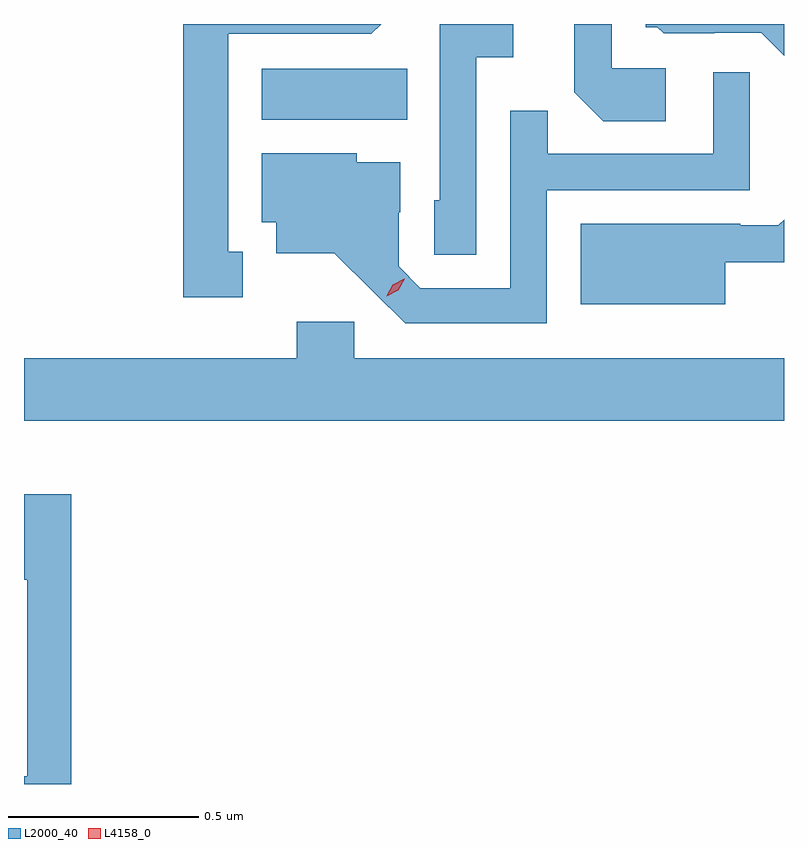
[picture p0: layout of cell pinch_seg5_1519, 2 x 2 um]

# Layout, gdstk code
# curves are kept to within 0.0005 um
import gdstk
lib = gdstk.Library(unit=1e-6, precision=1e-09)
def R(c, l, rs):  # rectangles x0, y0, x1, y1
    for r in rs: c.add(gdstk.rectangle(r[:2], r[2:], *l))
def P(c, l, *ps):  # polygons
    for p in ps: c.add(gdstk.Polygon(p, *l))
L2000_40 = (2000, 40)
L4158_0 = (4158, 0)

pinch_seg5_1519 = lib.new_cell('pinch_seg5_1519')
R(pinch_seg5_1519, L2000_40, [(161.792,893.516,162.176,893.65)])
P(pinch_seg5_1519, L2000_40, [(162.357,893.681),(162.454,893.681),(162.454,893.768),(162.261,893.768),(162.261,893.304),(162.246,893.304),(162.246,893.161),(162.357,893.161)],
  [(163.167,893.768),(162.803,893.768),(162.803,893.76),(162.834,893.76),(162.85,893.744),(162.984,893.744),(162.984,893.745),(163.107,893.745),(163.167,893.685)],
  [(161.743,893.169),(161.704,893.169),(161.704,893.742),(162.081,893.742),(162.107,893.768),(161.586,893.768),(161.586,893.049),(161.743,893.049)],
  [(162.856,893.652),(162.714,893.652),(162.714,893.768),(162.615,893.768),(162.615,893.588),(162.691,893.512),(162.856,893.512)],
  [(162.543,893.331),(163.077,893.331),(163.077,893.641),(162.981,893.641),(162.981,893.427),(162.545,893.427),(162.545,893.54),(162.447,893.54),(162.447,893.073),(162.21,893.073),(162.153,893.13),(162.153,893.272),(162.157,893.272),(162.157,893.404),(162.042,893.404),(162.042,893.428),(161.792,893.428),(161.792,893.246),(161.831,893.246),(161.831,893.165),(161.983,893.165),(162.17,892.98),(162.543,892.98)],
  [(163.012,893.141),(163.167,893.141),(163.167,893.253),(163.152,893.238),(163.052,893.238),(163.052,893.242),(162.632,893.242),(162.632,893.03),(163.012,893.03)],
  [(163.167,892.888),(162.036,892.888),(162.036,892.984),(161.885,892.984),(161.885,892.888),(161.167,892.888),(161.167,892.724),(163.167,892.724)],
  [(161.291,892.531),(161.167,892.531),(161.167,892.305),(161.175,892.305),(161.175,891.789),(161.167,891.789),(161.167,891.768),(161.291,891.768)])
P(pinch_seg5_1519, L4158_0, [(162.121,893.052),(162.121,893.053),(162.138,893.082),(162.168,893.098),(162.169,893.098),(162.169,893.098),(162.152,893.068),(162.121,893.052)])

lib.write_gds('pinch_seg5_1519.gds')
